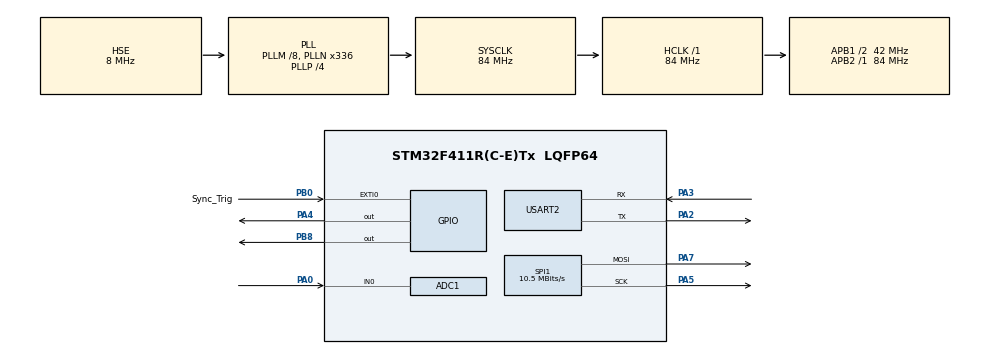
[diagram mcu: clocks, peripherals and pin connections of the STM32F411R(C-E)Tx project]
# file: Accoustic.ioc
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ADC1.Channel-1\#ChannelRegularConversion=ADC_CHANNEL_0
ADC1.ExternalTrigConv=ADC_EXTERNALTRIGCONV_T3_TRGO
ADC1.NbrOfConversionFlag=1
ADC1.Rank-1\#ChannelRegularConversion=1
ADC1.SamplingTime-1\#ChannelRegularConversion=ADC_SAMPLETIME_3CYCLES
ADC1.master=1
Dma.ADC1.1.Direction=DMA_PERIPH_TO_MEMORY
Dma.ADC1.1.FIFOMode=DMA_FIFOMODE_DISABLE
Dma.ADC1.1.Instance=DMA2_Stream0
Dma.ADC1.1.MemDataAlignment=DMA_MDATAALIGN_HALFWORD
Dma.ADC1.1.MemInc=DMA_MINC_ENABLE
Dma.ADC1.1.Mode=DMA_NORMAL
Dma.ADC1.1.PeriphDataAlignment=DMA_PDATAALIGN_HALFWORD
Dma.ADC1.1.PeriphInc=DMA_PINC_DISABLE
Dma.ADC1.1.Priority=DMA_PRIORITY_LOW
Dma.Request0=SPI1_TX
Dma.Request1=ADC1
Dma.SPI1_TX.0.Direction=DMA_MEMORY_TO_PERIPH
Dma.SPI1_TX.0.FIFOMode=DMA_FIFOMODE_DISABLE
Dma.SPI1_TX.0.Instance=DMA2_Stream2
Dma.SPI1_TX.0.MemDataAlignment=DMA_MDATAALIGN_HALFWORD
Dma.SPI1_TX.0.MemInc=DMA_MINC_ENABLE
Dma.SPI1_TX.0.Mode=DMA_NORMAL
Dma.SPI1_TX.0.PeriphDataAlignment=DMA_PDATAALIGN_HALFWORD
Dma.SPI1_TX.0.PeriphInc=DMA_PINC_DISABLE
Dma.SPI1_TX.0.Priority=DMA_PRIORITY_HIGH
Mcu.Family=STM32F4
Mcu.Name=STM32F411R(C-E)Tx
Mcu.Package=LQFP64
NVIC.DMA2_Stream0_IRQn=true\:0\:0\:false\:false\:true\:false\:true\:true
NVIC.DMA2_Stream2_IRQn=true\:0\:0\:false\:false\:true\:false\:true\:true
NVIC.EXTI0_IRQn=true\:0\:0\:false\:false\:true\:true\:true\:true
NVIC.PriorityGroup=NVIC_PRIORITYGROUP_4
NVIC.TIM2_IRQn=true\:0\:0\:false\:false\:true\:true\:true\:true
PA0-WKUP.GPIO_Mode=GPIO_MODE_ANALOG
PA0-WKUP.Signal=ADCx_IN0
PA2.Mode=Asynchronous
PA2.Signal=USART2_TX
PA3.Mode=Asynchronous
PA3.Signal=USART2_RX
PA4.GPIO_Speed=GPIO_SPEED_FREQ_VERY_HIGH
PA4.Signal=GPIO_Output
PA5.Mode=TX_Only_Simplex_Unidirect_Master
PA5.Signal=SPI1_SCK
PA7.Mode=TX_Only_Simplex_Unidirect_Master
PA7.Signal=SPI1_MOSI
PB0.GPIO_Label=Sync_Trig
PB0.GPIO_PuPd=GPIO_PULLDOWN
PB0.Signal=GPXTI0
PB8.GPIO_PuPd=GPIO_NOPULL
PB8.Signal=GPIO_Output
PH0\ -\ OSC_IN.Mode=HSE-External-Oscillator
PH0\ -\ OSC_IN.Signal=RCC_OSC_IN
PH1\ -\ OSC_OUT.Mode=HSE-External-Oscillator
PH1\ -\ OSC_OUT.Signal=RCC_OSC_OUT
ProjectManager.HeapSize=0x200
ProjectManager.StackSize=0x400
ProjectManager.TargetToolchain=STM32CubeIDE
RCC.48MHZClocksFreq_Value=84000000
RCC.AHBFreq_Value=84000000
RCC.APB1CLKDivider=RCC_HCLK_DIV2
RCC.APB1Freq_Value=42000000
RCC.APB1TimFreq_Value=84000000
RCC.APB2Freq_Value=84000000
RCC.APB2TimFreq_Value=84000000
RCC.CortexFreq_Value=84000000
RCC.HCLKFreq_Value=84000000
RCC.HSE_VALUE=8000000
RCC.HSI_VALUE=16000000
RCC.LSE_VALUE=32768
RCC.PLLM=8
RCC.PLLN=336
RCC.PLLP=RCC_PLLP_DIV4
RCC.PLLSourceVirtual=RCC_PLLSOURCE_HSE
RCC.SYSCLKFreq_VALUE=84000000
RCC.SYSCLKSource=RCC_SYSCLKSOURCE_PLLCLK
RCC.VCOOutputFreq_Value=336000000
SH.ADCx_IN0.0=ADC1_IN0,IN0
SPI1.BaudRatePrescaler=SPI_BAUDRATEPRESCALER_8
SPI1.CalculateBaudRate=10.5 MBits/s
SPI1.DataSize=SPI_DATASIZE_16BIT
SPI1.Direction=SPI_DIRECTION_2LINES
SPI1.Mode=SPI_MODE_MASTER
SPI1.VirtualType=VM_MASTER
TIM2.Period=(84000000 / SAMPLE_RATE_HZ) - 1
TIM2.TIM_MasterOutputTrigger=TIM_TRGO_UPDATE
TIM3.Period=(SystemCoreClock / 500000) - 1
TIM3.Prescaler=0
TIM3.TIM_MasterOutputTrigger=TIM_TRGO_UPDATE
TIM3.TIM_MasterSlaveMode=TIM_MASTERSLAVEMODE_DISABLE
USART2.VirtualMode=VM_ASYNC
USART2.WordLength=WORDLENGTH_8B
VP_TIM2_VS_ClockSourceINT.Mode=Internal
VP_TIM3_VS_ClockSourceINT.Mode=Internal
board=custom

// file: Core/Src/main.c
/* USER CODE BEGIN Header */
/**
  ******************************************************************************
  * @file           : main.c
  * @brief          : Main program body
  ******************************************************************************
  * @attention
  *
  * Copyright (c) 2025 STMicroelectronics.
  * All rights reserved.
  *
  * This software is licensed under terms that can be found in the LICENSE file
  * in the root directory of this software component.
  * If no LICENSE file comes with this software, it is provided AS-IS.
  *
  ******************************************************************************
  */
/* USER CODE END Header */
#include "main.h"

/* USER CODE BEGIN Includes */
#include <string.h>
#include <stdint.h>
#include "uart_protocol.h"
#include "qpsk_modem.h"
#include "ask_modem.h"
#include "CMD.h"
#include "iq_transmitter.h"
#include <math.h>

/* USER CODE END Includes */

ADC_HandleTypeDef hadc1;
DMA_HandleTypeDef hdma_adc1;

SPI_HandleTypeDef hspi1;
DMA_HandleTypeDef hdma_spi1_tx;

TIM_HandleTypeDef htim2;
TIM_HandleTypeDef htim3;

UART_HandleTypeDef huart2;

/* USER CODE BEGIN PV */

#define ADC_BUF_LEN 30000 //10000
uint16_t adc_buffer[ADC_BUF_LEN];

volatile uint8_t bits_to_send[MAX_BITS];
volatile uint16_t num_bits_to_send = 0;
volatile uint16_t bit_idx = 0;
volatile uint8_t transmitting = 0;

volatile uint8_t ready_to_demodulate = 0;

static int16_t tx_signal[ASK_RINGBUF_SIZE];
uint16_t tx_signal_len = 0;
static int16_t rx_signal[ASK_RINGBUF_SIZE];
uint16_t rx_signal_len = 0;

AskModem ask_modem;
AskRingBuffer tx_ringbuf, rx_ringbuf;

volatile uint8_t ask_synch_triggered = 0;

volatile uint8_t exti_blocked = 0;
volatile uint32_t exti_reenable_time = 0;

/* USER CODE END PV */

void SystemClock_Config(void);
static void MX_GPIO_Init(void);
static void MX_DMA_Init(void);
static void MX_TIM2_Init(void);
static void MX_USART2_UART_Init(void);
static void MX_SPI1_Init(void);
static void MX_ADC1_Init(void);
static void MX_TIM3_Init(void);
/* USER CODE BEGIN PFP */

uint16_t samples_per_symbol = (SYMBOL_DURATION_US * SAMPLE_RATE_HZ) / 1000000;
/* USER CODE END PFP */

/* USER CODE BEGIN 0 */

volatile uint8_t adc_ready = 0;

#define IS_RECEIVER

#ifdef IS_RECEIVER

void HAL_ADC_ConvCpltCallback(ADC_HandleTypeDef* hadc)
{
    if (ask_synch_triggered)
    {
        HAL_TIM_Base_Stop(&htim3);
        HAL_ADC_Stop_DMA(&hadc1);
        HAL_GPIO_WritePin(GPIOB, GPIO_PIN_8, GPIO_PIN_SET);
        //HAL_Delay(1);

        adc_ready = 1;

        // On traite le buffer directement ici
        AskRingBuffer_Init(&rx_ringbuf);
        for (uint16_t i = 0; i < ADC_BUF_LEN; i ++)
        {
            AskRingBuffer_Put(&rx_ringbuf, adc_buffer[i]);
        }

        uint8_t bits_out[ASK_MAX_BITS];
        uint16_t len_out = 0;

        ask_modem.samples_per_symbol = ASK_SAMPLES_PER_SYMBOL;

        //AskModem_Demodulate_OOK(&huart2,adc_buffer, ADC_BUF_LEN, bits_out, &len_out);
        //AskModem_Demodulate_OOK(&huart2, &ask_modem, &rx_ringbuf, bits_out, &len_out);
        AskModem_Demodulate_ByEdges(&huart2,adc_buffer, ADC_BUF_LEN, bits_out, &len_out);

        uint8_t decoded_chars[ASK_MAX_BITS / 8] = {0};
        uint16_t num_chars = 0;

        const uint16_t payload_start = 2;
        uint16_t usable_bits = len_out - payload_start;
        uint16_t usable_bytes = usable_bits / 8;

        for (uint16_t i = 0; i < usable_bytes && num_chars < (ASK_MAX_BITS / 8); i++) {
        	uint8_t byte = 0;
        	for (uint8_t b = 0; b < 8; b++) {
        		uint16_t idx = payload_start + i * 8 + b;
        		byte = (byte << 1) | bits_out[idx];
        	}
        	decoded_chars[num_chars++] = byte;
        }

        UartProtocol_SendFrame(&huart2, CMD_QPSK_RESULT, num_chars, decoded_chars);
        adc_ready = 0;
        ask_synch_triggered = 0;
       }
}

void Check_EXTI_Reactivation(void)
{
	if (exti_blocked && HAL_GetTick() >= exti_reenable_time)
	{
	    if (HAL_GPIO_ReadPin(GPIOA, GPIO_PIN_0) == GPIO_PIN_RESET)
	    {
	        exti_blocked = 0;
	        EXTI->PR = EXTI_PR_PR0;
	        HAL_NVIC_EnableIRQ(EXTI0_IRQn);
	    }
	}
}

void HAL_GPIO_EXTI_Callback(uint16_t GPIO_Pin)
{
    if (GPIO_Pin == GPIO_PIN_0 && !ask_synch_triggered && exti_blocked == 0)
    {
        //HAL_GPIO_WritePin(GPIOB, GPIO_PIN_8, GPIO_PIN_SET);
        //HAL_Delay(1);
        exti_blocked = 1;
        exti_reenable_time = HAL_GetTick() + 100;

        __HAL_GPIO_EXTI_CLEAR_IT(GPIO_Pin); // clear flag EXTI
        HAL_NVIC_DisableIRQ(EXTI0_IRQn);    // désactive EXTI0 pour éviter double front

        ask_synch_triggered = 1;

        // Lance ADC + DMA pour N échantillons
        HAL_ADC_Start_DMA(&hadc1, (uint32_t*)adc_buffer, ADC_BUF_LEN);

        // Lance le timer qui cadencera les conversions ADC
        HAL_TIM_Base_Start(&htim3);
    }
}
#endif

void OnFrameReceived(UartProtocol* proto, uint16_t cmd, uint16_t len, uint8_t* payload) {
    if (cmd == CMD_QPSK_MOD_DEMOD) {
    	HAL_TIM_Base_Start(&htim3);
        AskRingBuffer_Init(&tx_ringbuf);
        AskRingBuffer_Init(&rx_ringbuf);
        AskModem_Init(&ask_modem, samples_per_symbol, 40000.0f, SAMPLE_RATE_HZ);
        //AskModem_Modulate(&huart2, &ask_modem, payload, len, &tx_ringbuf, 3.3f);
        //AskModem_Modulate_OOK(&huart2, &ask_modem, payload, len, &tx_ringbuf, 3.3f);
        AskModem_Modulate_DiracTransitions(&huart2, &ask_modem, payload, len, &tx_ringbuf, 3.3f);

        tx_signal_len = 0;
        while (!AskRingBuffer_IsEmpty(&tx_ringbuf) && tx_signal_len < ASK_RINGBUF_SIZE) {
            tx_signal[tx_signal_len++] = AskRingBuffer_Get(&tx_ringbuf);
        }

        IQTransmitter_InitFromBuffer(tx_signal, tx_signal_len);
        //Afficher le signal sur l'interface pour debug
        /*for (int i = 0; i < tx_signal_len; i++) {
            SendIQFrame(&huart2, tx_signal[i], i);
        }*/
        IQTransmitter_Start();
    }
}

/* USER CODE END 0 */

int main(void)
{

  /* USER CODE BEGIN 1 */
	UartProtocol proto;
  /* USER CODE END 1 */

  /* MCU Configuration--------------------------------------------------------*/

  /* Reset of all peripherals, Initializes the Flash interface and the Systick. */
  HAL_Init();

  /* Configure the system clock */
  SystemClock_Config();

  /* Initialize all configured peripherals */
  MX_GPIO_Init();
  MX_DMA_Init();
  MX_TIM2_Init();
  MX_USART2_UART_Init();
  MX_SPI1_Init();
  MX_ADC1_Init();
  MX_TIM3_Init();
  /* USER CODE BEGIN 2 */
  UartProtocol_Init(&proto, OnFrameReceived);
  /* USER CODE END 2 */

  /* Infinite loop */
  /* USER CODE BEGIN WHILE */
  uint8_t c;

  while (1)
  {
      if (HAL_UART_Receive(&huart2, &c, 1, 10) == HAL_OK) {
          UartProtocol_ParseByte(&proto, c);
      }

      Check_EXTI_Reactivation();
    /* USER CODE END WHILE */

  }
}

void SystemClock_Config(void)
{
  RCC_OscInitTypeDef RCC_OscInitStruct = {0};
  RCC_ClkInitTypeDef RCC_ClkInitStruct = {0};

  /** Configure the main internal regulator output voltage
  */
  __HAL_RCC_PWR_CLK_ENABLE();
  __HAL_PWR_VOLTAGESCALING_CONFIG(PWR_REGULATOR_VOLTAGE_SCALE1);

  /** Initializes the RCC Oscillators according to the specified parameters
  * in the RCC_OscInitTypeDef structure.
  */
  RCC_OscInitStruct.OscillatorType = RCC_OSCILLATORTYPE_HSE;
  RCC_OscInitStruct.HSEState = RCC_HSE_ON;
  RCC_OscInitStruct.PLL.PLLState = RCC_PLL_ON;
  RCC_OscInitStruct.PLL.PLLSource = RCC_PLLSOURCE_HSE;
  RCC_OscInitStruct.PLL.PLLM = 8;
  RCC_OscInitStruct.PLL.PLLN = 336;
  RCC_OscInitStruct.PLL.PLLP = RCC_PLLP_DIV4;
  RCC_OscInitStruct.PLL.PLLQ = 4;
  if (HAL_RCC_OscConfig(&RCC_OscInitStruct) != HAL_OK)
  {
    Error_Handler();
  }

  /** Initializes the CPU, AHB and APB buses clocks
  */
  RCC_ClkInitStruct.ClockType = RCC_CLOCKTYPE_HCLK|RCC_CLOCKTYPE_SYSCLK
                              |RCC_CLOCKTYPE_PCLK1|RCC_CLOCKTYPE_PCLK2;
  RCC_ClkInitStruct.SYSCLKSource = RCC_SYSCLKSOURCE_PLLCLK;
  RCC_ClkInitStruct.AHBCLKDivider = RCC_SYSCLK_DIV1;
  RCC_ClkInitStruct.APB1CLKDivider = RCC_HCLK_DIV2;
  RCC_ClkInitStruct.APB2CLKDivider = RCC_HCLK_DIV1;

  if (HAL_RCC_ClockConfig(&RCC_ClkInitStruct, FLASH_LATENCY_2) != HAL_OK)
  {
    Error_Handler();
  }
}

static void MX_ADC1_Init(void)
{

  ADC_ChannelConfTypeDef sConfig = {0};

  /** Configure the global features of the ADC (Clock, Resolution, Data Alignment and number of conversion)
  */
  hadc1.Instance = ADC1;
  hadc1.Init.ClockPrescaler = ADC_CLOCK_SYNC_PCLK_DIV4;
  hadc1.Init.Resolution = ADC_RESOLUTION_12B;
  hadc1.Init.ScanConvMode = DISABLE;
  hadc1.Init.ContinuousConvMode = DISABLE;
  hadc1.Init.DiscontinuousConvMode = DISABLE;
  hadc1.Init.ExternalTrigConvEdge = ADC_EXTERNALTRIGCONVEDGE_RISING;
  hadc1.Init.ExternalTrigConv = ADC_EXTERNALTRIGCONV_T3_TRGO;
  hadc1.Init.DataAlign = ADC_DATAALIGN_RIGHT;
  hadc1.Init.NbrOfConversion = 1;
  hadc1.Init.DMAContinuousRequests = DISABLE;
  hadc1.Init.EOCSelection = ADC_EOC_SINGLE_CONV;
  if (HAL_ADC_Init(&hadc1) != HAL_OK)
  {
    Error_Handler();
  }

  /** Configure for the selected ADC regular channel its corresponding rank in the sequencer and its sample time.
  */
  sConfig.Channel = ADC_CHANNEL_0;
  sConfig.Rank = 1;
  sConfig.SamplingTime = ADC_SAMPLETIME_3CYCLES;
  if (HAL_ADC_ConfigChannel(&hadc1, &sConfig) != HAL_OK)
  {
    Error_Handler();
  }

}

static void MX_SPI1_Init(void)
{

  /* SPI1 parameter configuration*/
  hspi1.Instance = SPI1;
  hspi1.Init.Mode = SPI_MODE_MASTER;
  hspi1.Init.Direction = SPI_DIRECTION_2LINES;
  hspi1.Init.DataSize = SPI_DATASIZE_16BIT;
  hspi1.Init.CLKPolarity = SPI_POLARITY_LOW;
  hspi1.Init.CLKPhase = SPI_PHASE_1EDGE;
  hspi1.Init.NSS = SPI_NSS_SOFT;
  hspi1.Init.BaudRatePrescaler = SPI_BAUDRATEPRESCALER_8;
  hspi1.Init.FirstBit = SPI_FIRSTBIT_MSB;
  hspi1.Init.TIMode = SPI_TIMODE_DISABLE;
  hspi1.Init.CRCCalculation = SPI_CRCCALCULATION_DISABLE;
  hspi1.Init.CRCPolynomial = 10;
  if (HAL_SPI_Init(&hspi1) != HAL_OK)
  {
    Error_Handler();
  }

}

static void MX_TIM2_Init(void)
{

  TIM_ClockConfigTypeDef sClockSourceConfig = {0};
  TIM_MasterConfigTypeDef sMasterConfig = {0};

  htim2.Instance = TIM2;
  htim2.Init.Prescaler = 0;
  htim2.Init.CounterMode = TIM_COUNTERMODE_UP;
  htim2.Init.Period = (84000000 / SAMPLE_RATE_HZ) - 1;
  htim2.Init.ClockDivision = TIM_CLOCKDIVISION_DIV1;
  htim2.Init.AutoReloadPreload = TIM_AUTORELOAD_PRELOAD_DISABLE;
  if (HAL_TIM_Base_Init(&htim2) != HAL_OK)
  {
    Error_Handler();
  }
  sClockSourceConfig.ClockSource = TIM_CLOCKSOURCE_INTERNAL;
  if (HAL_TIM_ConfigClockSource(&htim2, &sClockSourceConfig) != HAL_OK)
  {
    Error_Handler();
  }
  sMasterConfig.MasterOutputTrigger = TIM_TRGO_UPDATE;
  sMasterConfig.MasterSlaveMode = TIM_MASTERSLAVEMODE_DISABLE;
  if (HAL_TIMEx_MasterConfigSynchronization(&htim2, &sMasterConfig) != HAL_OK)
  {
    Error_Handler();
  }

}

static void MX_TIM3_Init(void)
{

  TIM_ClockConfigTypeDef sClockSourceConfig = {0};
  TIM_MasterConfigTypeDef sMasterConfig = {0};

  htim3.Instance = TIM3;
  htim3.Init.Prescaler = 0;
  htim3.Init.CounterMode = TIM_COUNTERMODE_UP;
  htim3.Init.Period = (SystemCoreClock / 500000) - 1;
  htim3.Init.ClockDivision = TIM_CLOCKDIVISION_DIV1;
  htim3.Init.AutoReloadPreload = TIM_AUTORELOAD_PRELOAD_DISABLE;
  if (HAL_TIM_Base_Init(&htim3) != HAL_OK)
  {
    Error_Handler();
  }
  sClockSourceConfig.ClockSource = TIM_CLOCKSOURCE_INTERNAL;
  if (HAL_TIM_ConfigClockSource(&htim3, &sClockSourceConfig) != HAL_OK)
  {
    Error_Handler();
  }
  sMasterConfig.MasterOutputTrigger = TIM_TRGO_UPDATE;
  sMasterConfig.MasterSlaveMode = TIM_MASTERSLAVEMODE_DISABLE;
  if (HAL_TIMEx_MasterConfigSynchronization(&htim3, &sMasterConfig) != HAL_OK)
  {
    Error_Handler();
  }

}

static void MX_USART2_UART_Init(void)
{

  huart2.Instance = USART2;
  huart2.Init.BaudRate = 115200;
  huart2.Init.WordLength = UART_WORDLENGTH_8B;
  huart2.Init.StopBits = UART_STOPBITS_1;
  huart2.Init.Parity = UART_PARITY_NONE;
  huart2.Init.Mode = UART_MODE_TX_RX;
  huart2.Init.HwFlowCtl = UART_HWCONTROL_NONE;
  huart2.Init.OverSampling = UART_OVERSAMPLING_16;
  if (HAL_UART_Init(&huart2) != HAL_OK)
  {
    Error_Handler();
  }

}

static void MX_DMA_Init(void)
{

  /* DMA controller clock enable */
  __HAL_RCC_DMA2_CLK_ENABLE();

  /* DMA interrupt init */
  /* DMA2_Stream0_IRQn interrupt configuration */
  HAL_NVIC_SetPriority(DMA2_Stream0_IRQn, 0, 0);
  HAL_NVIC_EnableIRQ(DMA2_Stream0_IRQn);
  /* DMA2_Stream2_IRQn interrupt configuration */
  HAL_NVIC_SetPriority(DMA2_Stream2_IRQn, 0, 0);
  HAL_NVIC_EnableIRQ(DMA2_Stream2_IRQn);

}

static void MX_GPIO_Init(void)
{
  GPIO_InitTypeDef GPIO_InitStruct = {0};
  /* USER CODE BEGIN MX_GPIO_Init_1 */
	__HAL_RCC_GPIOA_CLK_ENABLE();
	GPIO_InitStruct.Pin = GPIO_PIN_5;
	GPIO_InitStruct.Mode = GPIO_MODE_OUTPUT_PP;
	GPIO_InitStruct.Pull = GPIO_NOPULL;
	GPIO_InitStruct.Speed = GPIO_SPEED_FREQ_LOW;
	HAL_GPIO_Init(GPIOA, &GPIO_InitStruct);

	GPIO_InitStruct.Pin = GPIO_PIN_6;
	HAL_GPIO_Init(GPIOA, &GPIO_InitStruct);
  /* USER CODE END MX_GPIO_Init_1 */

  /* GPIO Ports Clock Enable */
  __HAL_RCC_GPIOH_CLK_ENABLE();
  __HAL_RCC_GPIOA_CLK_ENABLE();
  __HAL_RCC_GPIOB_CLK_ENABLE();

  /*Configure GPIO pin Output Level */
  HAL_GPIO_WritePin(GPIOA, GPIO_PIN_4, GPIO_PIN_RESET);

  /*Configure GPIO pin Output Level */
  HAL_GPIO_WritePin(GPIOB, GPIO_PIN_8, GPIO_PIN_RESET);

  /*Configure GPIO pin : PA4 */
  GPIO_InitStruct.Pin = GPIO_PIN_4;
  GPIO_InitStruct.Mode = GPIO_MODE_OUTPUT_PP;
  GPIO_InitStruct.Pull = GPIO_NOPULL;
  GPIO_InitStruct.Speed = GPIO_SPEED_FREQ_VERY_HIGH;
  HAL_GPIO_Init(GPIOA, &GPIO_InitStruct);

  /*Configure GPIO pin : Sync_Trig_Pin */
  GPIO_InitStruct.Pin = Sync_Trig_Pin;
  GPIO_InitStruct.Mode = GPIO_MODE_IT_RISING;
  GPIO_InitStruct.Pull = GPIO_PULLDOWN;
  HAL_GPIO_Init(Sync_Trig_GPIO_Port, &GPIO_InitStruct);

  /*Configure GPIO pin : PB8 */
  GPIO_InitStruct.Pin = GPIO_PIN_8;
  GPIO_InitStruct.Mode = GPIO_MODE_OUTPUT_PP;
  GPIO_InitStruct.Pull = GPIO_NOPULL;
  GPIO_InitStruct.Speed = GPIO_SPEED_FREQ_LOW;
  HAL_GPIO_Init(GPIOB, &GPIO_InitStruct);

  /* EXTI interrupt init*/
  HAL_NVIC_SetPriority(EXTI0_IRQn, 0, 0);
  HAL_NVIC_EnableIRQ(EXTI0_IRQn);

}

void Error_Handler(void)
{
  /* USER CODE BEGIN Error_Handler_Debug */
  /* User can add his own implementation to report the HAL error return state */
  __disable_irq();
  while (1)
  {
      HAL_GPIO_TogglePin(GPIOA, GPIO_PIN_5); // blink rapide
      HAL_Delay(100);
  }
  /* USER CODE END Error_Handler_Debug */
}
